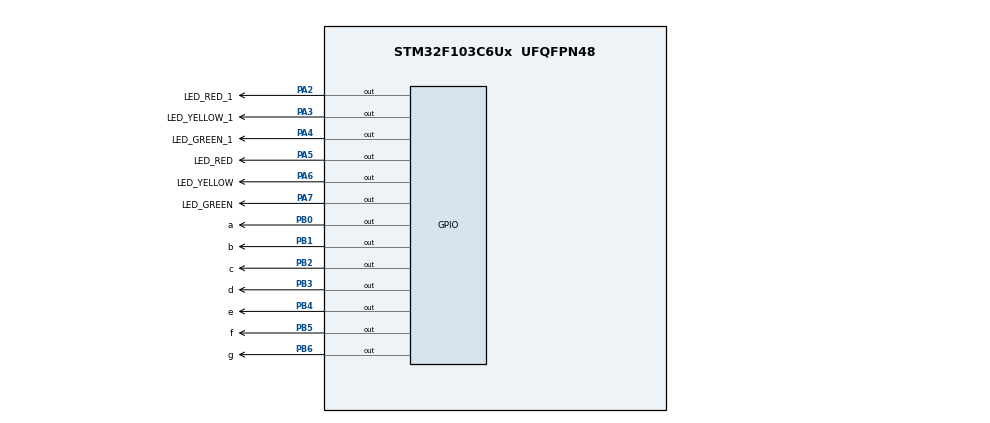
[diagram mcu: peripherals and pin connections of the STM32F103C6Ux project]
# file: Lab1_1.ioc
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Mcu.Family=STM32F1
Mcu.Name=STM32F103C6Ux
Mcu.Package=UFQFPN48
NVIC.PriorityGroup=NVIC_PRIORITYGROUP_4
PA2.GPIO_Label=LED_RED_1
PA2.Signal=GPIO_Output
PA3.GPIO_Label=LED_YELLOW_1
PA3.Signal=GPIO_Output
PA4.GPIO_Label=LED_GREEN_1
PA4.Signal=GPIO_Output
PA5.GPIO_Label=LED_RED
PA5.Signal=GPIO_Output
PA6.GPIO_Label=LED_YELLOW
PA6.Signal=GPIO_Output
PA7.GPIO_Label=LED_GREEN
PA7.Signal=GPIO_Output
PB0.GPIO_Label=a
PB0.Signal=GPIO_Output
PB1.GPIO_Label=b
PB1.Signal=GPIO_Output
PB2.GPIO_Label=c
PB2.Signal=GPIO_Output
PB3.GPIO_Label=d
PB3.Signal=GPIO_Output
PB4.GPIO_Label=e
PB4.Signal=GPIO_Output
PB5.GPIO_Label=f
PB5.Signal=GPIO_Output
PB6.GPIO_Label=g
PB6.Signal=GPIO_Output
ProjectManager.HeapSize=0x200
ProjectManager.StackSize=0x400
ProjectManager.TargetToolchain=STM32CubeIDE
RCC.APB1Freq_Value=8000000
RCC.APB2Freq_Value=8000000
VP_SYS_VS_ND.Mode=No_Debug
board=custom

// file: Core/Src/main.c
/* USER CODE BEGIN Header */
/**
  ******************************************************************************
  * @file           : main.c
  * @brief          : Main program body
  ******************************************************************************
  * @attention
  *
  * <h2><center>&copy; Copyright (c) 2022 STMicroelectronics.
  * All rights reserved.</center></h2>
  *
  * This software component is licensed by ST under BSD 3-Clause license,
  * the "License"; You may not use this file except in compliance with the
  * License. You may obtain a copy of the License at:
  *                        opensource.org/licenses/BSD-3-Clause
  *
  ******************************************************************************
  */
/* USER CODE END Header */
#include "main.h"

void SystemClock_Config(void);
static void MX_GPIO_Init(void);

int main(void)
{

  /* MCU Configuration--------------------------------------------------------*/

  /* Reset of all peripherals, Initializes the Flash interface and the Systick. */
  HAL_Init();

  /* Configure the system clock */
  SystemClock_Config();

  /* Initialize all configured peripherals */
  MX_GPIO_Init();

  /* Infinite loop */
  /* USER CODE BEGIN WHILE */
  int count = 5, status = 1;
    while (1)
    {
      /* USER CODE END WHILE */

  	  if(status == 1){
  		  if (count <= 5 && count >= 3){
  			  HAL_GPIO_WritePin ( LED_RED_1_GPIO_Port , LED_RED_1_Pin , SET ) ;
  			  HAL_GPIO_WritePin ( LED_YELLOW_GPIO_Port , LED_YELLOW_Pin , SET ) ;
  			  HAL_GPIO_WritePin ( LED_GREEN_GPIO_Port , LED_GREEN_Pin , SET ) ;
  			  HAL_GPIO_WritePin ( LED_YELLOW_1_GPIO_Port , LED_YELLOW_1_Pin , SET ) ;

  			  HAL_GPIO_WritePin ( LED_RED_GPIO_Port , LED_RED_Pin , RESET ) ;
  			  HAL_GPIO_WritePin ( LED_GREEN_1_GPIO_Port , LED_GREEN_1_Pin , RESET ) ;
  			  display7SEG(count);
  		  }
  		  if (count < 3 && count > 0){
  			  HAL_GPIO_WritePin ( LED_GREEN_1_GPIO_Port , LED_GREEN_1_Pin , SET ) ;

  			  HAL_GPIO_WritePin ( LED_YELLOW_1_GPIO_Port , LED_YELLOW_1_Pin , RESET ) ;
  			  display7SEG(count);
  		  }
  	  }

  	  if(status == -1){
  		  if (count <= 5 && count >= 3){
  			  HAL_GPIO_WritePin ( LED_RED_GPIO_Port , LED_RED_Pin , SET ) ;
  			  HAL_GPIO_WritePin ( LED_YELLOW_1_GPIO_Port , LED_YELLOW_1_Pin , SET ) ;

  			  HAL_GPIO_WritePin ( LED_RED_1_GPIO_Port , LED_RED_1_Pin , RESET ) ;
  			  HAL_GPIO_WritePin ( LED_GREEN_GPIO_Port , LED_GREEN_Pin , RESET ) ;
  			  display7SEG(count);
  		  }
  		  if (count < 3 && count > 0){
  			  HAL_GPIO_WritePin ( LED_GREEN_GPIO_Port , LED_GREEN_Pin , SET ) ;

  			  HAL_GPIO_WritePin ( LED_YELLOW_GPIO_Port , LED_YELLOW_Pin , RESET ) ;
  			  display7SEG(count);
  		  }
  	  }
  	  count --;
  	  if(count == 0){
  		  status *= -1;
  		  count = 5;
  	  }
  	  HAL_Delay(1000);
    }
}

void SystemClock_Config(void)
{
  RCC_OscInitTypeDef RCC_OscInitStruct = {0};
  RCC_ClkInitTypeDef RCC_ClkInitStruct = {0};

  /** Initializes the RCC Oscillators according to the specified parameters
  * in the RCC_OscInitTypeDef structure.
  */
  RCC_OscInitStruct.OscillatorType = RCC_OSCILLATORTYPE_HSI;
  RCC_OscInitStruct.HSIState = RCC_HSI_ON;
  RCC_OscInitStruct.HSICalibrationValue = RCC_HSICALIBRATION_DEFAULT;
  RCC_OscInitStruct.PLL.PLLState = RCC_PLL_NONE;
  if (HAL_RCC_OscConfig(&RCC_OscInitStruct) != HAL_OK)
  {
    Error_Handler();
  }
  /** Initializes the CPU, AHB and APB buses clocks
  */
  RCC_ClkInitStruct.ClockType = RCC_CLOCKTYPE_HCLK|RCC_CLOCKTYPE_SYSCLK
                              |RCC_CLOCKTYPE_PCLK1|RCC_CLOCKTYPE_PCLK2;
  RCC_ClkInitStruct.SYSCLKSource = RCC_SYSCLKSOURCE_HSI;
  RCC_ClkInitStruct.AHBCLKDivider = RCC_SYSCLK_DIV1;
  RCC_ClkInitStruct.APB1CLKDivider = RCC_HCLK_DIV1;
  RCC_ClkInitStruct.APB2CLKDivider = RCC_HCLK_DIV1;

  if (HAL_RCC_ClockConfig(&RCC_ClkInitStruct, FLASH_LATENCY_0) != HAL_OK)
  {
    Error_Handler();
  }
}

static void MX_GPIO_Init(void)
{
  GPIO_InitTypeDef GPIO_InitStruct = {0};

  /* GPIO Ports Clock Enable */
  __HAL_RCC_GPIOA_CLK_ENABLE();
  __HAL_RCC_GPIOB_CLK_ENABLE();

  /*Configure GPIO pin Output Level */
  HAL_GPIO_WritePin(GPIOA, LED_RED_1_Pin|LED_YELLOW_1_Pin|LED_GREEN_1_Pin|LED_RED_Pin
                          |LED_YELLOW_Pin|LED_GREEN_Pin, GPIO_PIN_RESET);

  /*Configure GPIO pin Output Level */
  HAL_GPIO_WritePin(GPIOB, a_Pin|b_Pin|c_Pin|d_Pin
                          |e_Pin|f_Pin|g_Pin, GPIO_PIN_RESET);

  /*Configure GPIO pins : LED_RED_1_Pin LED_YELLOW_1_Pin LED_GREEN_1_Pin LED_RED_Pin
                           LED_YELLOW_Pin LED_GREEN_Pin */
  GPIO_InitStruct.Pin = LED_RED_1_Pin|LED_YELLOW_1_Pin|LED_GREEN_1_Pin|LED_RED_Pin
                          |LED_YELLOW_Pin|LED_GREEN_Pin;
  GPIO_InitStruct.Mode = GPIO_MODE_OUTPUT_PP;
  GPIO_InitStruct.Pull = GPIO_NOPULL;
  GPIO_InitStruct.Speed = GPIO_SPEED_FREQ_LOW;
  HAL_GPIO_Init(GPIOA, &GPIO_InitStruct);

  /*Configure GPIO pins : a_Pin b_Pin c_Pin d_Pin
                           e_Pin f_Pin g_Pin */
  GPIO_InitStruct.Pin = a_Pin|b_Pin|c_Pin|d_Pin
                          |e_Pin|f_Pin|g_Pin;
  GPIO_InitStruct.Mode = GPIO_MODE_OUTPUT_PP;
  GPIO_InitStruct.Pull = GPIO_NOPULL;
  GPIO_InitStruct.Speed = GPIO_SPEED_FREQ_LOW;
  HAL_GPIO_Init(GPIOB, &GPIO_InitStruct);

}

/* USER CODE BEGIN 4 */
void display7SEG(int num){
	GPIOB->ODR = ~(0x0000);
	if(num == 0){
		GPIOB->ODR = ~(0x003F);
	}
	if(num == 1){
			GPIOB->ODR = ~(0x0006);
		}
	if(num == 2){
			GPIOB->ODR = ~(0x005B);
		}
	if(num == 3){
			GPIOB->ODR = ~(0x004F);
		}
	if(num == 4){
			GPIOB->ODR = ~(0x0066);
		}
	if(num == 5){
			GPIOB->ODR = ~(0x006D);
		}
	if(num == 6){
			GPIOB->ODR = ~(0x007D);
		}
	if(num == 7){
			GPIOB->ODR = ~(0x0007);
		}
	if(num == 8){
			GPIOB->ODR = ~(0x007F);
		}
	if(num == 9){
			GPIOB->ODR = ~(0x006F);
		}
}
/* USER CODE END 4 */

void Error_Handler(void)
{
  __disable_irq();
  while (1)
  {
  }
}

/************************ (C) COPYRIGHT STMicroelectronics *****END OF FILE****/
